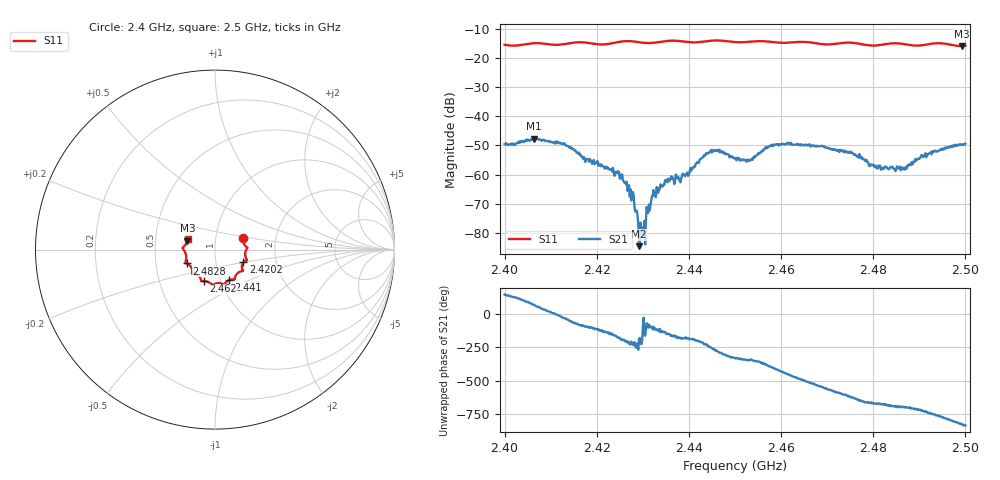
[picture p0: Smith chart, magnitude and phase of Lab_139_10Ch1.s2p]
# Hz S RI R 50
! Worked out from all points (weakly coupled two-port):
!   601 points, 2.4 GHz to 2.5 GHz, reference 50 ohm
!   highest |S21| = -47.64 dB at 2.4063 GHz (marker M1); lowest = -84.6 dB at 2.4292 GHz (marker M2)
!   lowest |S11| = -15.8 dB at 2.4992 GHz (marker M3), VSWR 1.39, Z = 36.5 + j3.68 ohm
!   |S11| at or under -10 dB: start of sweep to end of sweep
!   S12 and S22 are empty: the file has one direction only
!   S11 on the Smith chart (normalised r, x): 2.4 GHz: 1.36, +0.18; 2.4202 GHz: 1.36, -0.20; 2.441 GHz: 1.10, -0.39; 2.462 GHz: 0.84, -0.30; 2.4828 GHz: 0.72, -0.12; 2.5 GHz: 0.73, +0.09
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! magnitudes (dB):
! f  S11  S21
! 2.4 GHz  -15.4  -49.6
! 2.4063 GHz  -14.9  -47.6
! 2.4125 GHz  -15.3  -49.4
! 2.4167 GHz  -14.5  -53.6
! 2.4202 GHz  -15.2  -55.4
! 2.426 GHz  -14.2  -62.8
! 2.4275 GHz  -14.2  -68.9
! 2.4292 GHz  -14.5  -84.6
! 2.4302 GHz  -14.7  -80.1
! 2.4318 GHz  -14.8  -68.7
! 2.4333 GHz  -14.5  -66.2
! 2.441 GHz  -14.6  -57.3
! 2.4452 GHz  -14.0  -51.6
! 2.45 GHz  -14.5  -54.3
! 2.453 GHz  -14.4  -54.9
! 2.4575 GHz  -14.3  -50.2
! 2.462 GHz  -14.6  -49.7
! 2.4667 GHz  -14.6  -50.1
! 2.4828 GHz  -15.1  -57.3
! 2.4833 GHz  -15.0  -58.2
! 2.4992 GHz  -15.8  -49.8
! 2.5 GHz  -15.7  -49.5
